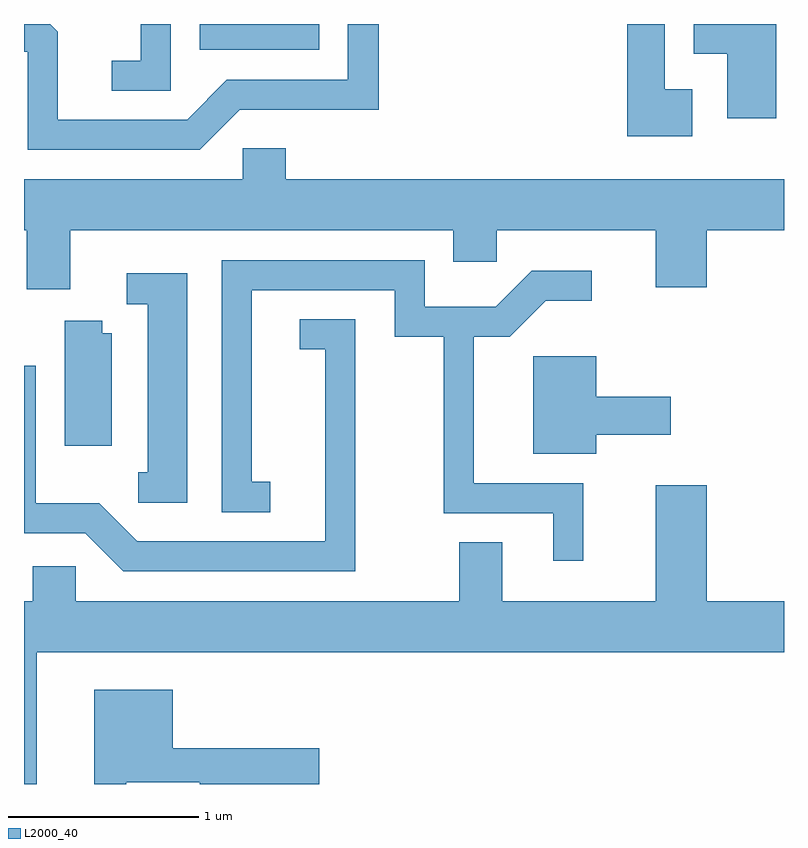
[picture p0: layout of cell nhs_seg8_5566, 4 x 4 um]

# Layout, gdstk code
import gdstk
lib = gdstk.Library(unit=1e-6, precision=1e-09)
def R(c, l, rs):  # rectangles x0, y0, x1, y1
    for r in rs: c.add(gdstk.rectangle(r[:2], r[2:], *l))
def P(c, l, *ps):  # polygons
    for p in ps: c.add(gdstk.Polygon(p, *l))
L2000_40 = (2000, 40)

nhs_seg8_5566 = lib.new_cell('nhs_seg8_5566')
R(nhs_seg8_5566, L2000_40, [(352.536,1886.206,353.164,1886.342)])
P(nhs_seg8_5566, L2000_40, [(355.129,1885.999),(354.984,1885.999),(354.984,1886.342),(354.786,1886.342),(354.786,1885.751),(355.129,1885.751)],
  [(352.747,1885.891),(353.479,1885.891),(353.479,1886.342),(353.316,1886.342),(353.316,1886.049),(352.679,1886.049),(352.469,1885.839),(351.789,1885.839),(351.789,1886.302),(351.749,1886.342),(351.611,1886.342),(351.611,1886.196),(351.631,1886.196),(351.631,1885.681),(352.537,1885.681)],
  [(352.384,1886.342),(352.226,1886.342),(352.226,1886.149),(352.073,1886.149),(352.073,1885.991),(352.384,1885.991)],
  [(355.569,1886.342),(355.136,1886.342),(355.136,1886.186),(355.311,1886.186),(355.311,1885.846),(355.569,1885.846)],
  [(351.854,1885.256),(353.871,1885.256),(353.871,1885.091),(354.099,1885.091),(354.099,1885.256),(354.936,1885.256),(354.936,1884.956),(355.204,1884.956),(355.204,1885.256),(355.611,1885.256),(355.611,1885.524),(352.989,1885.524),(352.989,1885.689),(352.761,1885.689),(352.761,1885.524),(351.611,1885.524),(351.611,1885.256),(351.626,1885.256),(351.626,1884.946),(351.854,1884.946)],
  [(354.554,1883.924),(353.979,1883.924),(353.979,1884.696),(354.167,1884.696),(354.357,1884.886),(354.598,1884.886),(354.598,1885.044),(354.284,1885.044),(354.094,1884.854),(353.719,1884.854),(353.719,1885.099),(352.651,1885.099),(352.651,1883.771),(352.908,1883.771),(352.908,1883.934),(352.809,1883.934),(352.809,1884.941),(353.561,1884.941),(353.561,1884.696),(353.821,1884.696),(353.821,1883.766),(354.396,1883.766),(354.396,1883.518),(354.554,1883.518)],
  [(352.469,1885.029),(352.153,1885.029),(352.153,1884.866),(352.261,1884.866),(352.261,1883.984),(352.213,1883.984),(352.213,1883.821),(352.469,1883.821)],
  [(353.354,1884.789),(353.063,1884.789),(353.063,1884.631),(353.196,1884.631),(353.196,1883.619),(352.207,1883.619),(352.007,1883.819),(351.674,1883.819),(351.674,1884.544),(351.611,1884.544),(351.611,1883.661),(351.934,1883.661),(352.134,1883.461),(353.354,1883.461)],
  [(352.074,1884.714),(352.024,1884.714),(352.024,1884.779),(351.826,1884.779),(351.826,1884.121),(352.074,1884.121)],
  [(354.624,1884.181),(355.014,1884.181),(355.014,1884.379),(354.624,1884.379),(354.624,1884.594),(354.291,1884.594),(354.291,1884.081),(354.624,1884.081)],
  [(351.679,1883.036),(355.611,1883.036),(355.611,1883.304),(355.204,1883.304),(355.204,1883.914),(354.936,1883.914),(354.936,1883.304),(354.129,1883.304),(354.129,1883.614),(353.901,1883.614),(353.901,1883.304),(351.884,1883.304),(351.884,1883.489),(351.656,1883.489),(351.656,1883.304),(351.611,1883.304),(351.611,1882.342),(351.679,1882.342)],
  [(352.149,1882.351),(352.536,1882.351),(352.536,1882.342),(353.164,1882.342),(353.164,1882.529),(352.394,1882.529),(352.394,1882.839),(351.981,1882.839),(351.981,1882.342),(352.149,1882.342)])

lib.write_gds('nhs_seg8_5566.gds')
